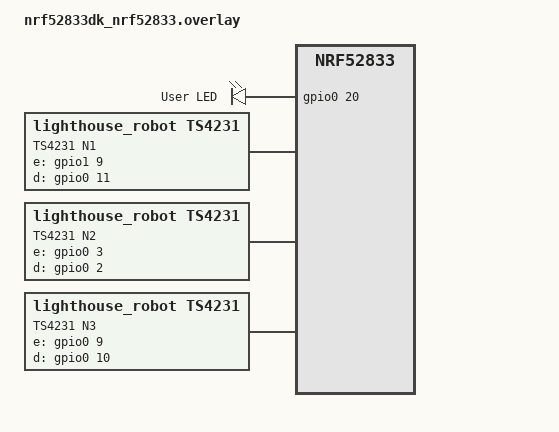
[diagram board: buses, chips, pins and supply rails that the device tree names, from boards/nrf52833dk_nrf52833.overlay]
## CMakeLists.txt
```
cmake_minimum_required(VERSION 3.20.0)
find_package(Zephyr REQUIRED HINTS $ENV{ZEPHYR_BASE})

project(lighthouse_20260714)

target_sources(app PRIVATE
	src/main.c
	src/led/led.c
	src/bt_advertise/bt_advertise.c
	src/bt_scan/bt_scan.c
	src/ppi/ppi.c
	src/ppi/timer.c
	src/ts4231/ts4231.c
	src/ts4231/ts4231_sensors.c
	src/pos/pos.c
	src/robot_pose/robot_pose.c
)

target_include_directories(app PRIVATE
	src/led
	src/bt_advertise
	src/bt_scan
	src/ppi
	src/ts4231
	src/pos
	src/robot_pose
)
```

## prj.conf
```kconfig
CONFIG_GPIO=y

CONFIG_LOG=y
CONFIG_LOG_DEFAULT_LEVEL=3

CONFIG_BT=y
CONFIG_BT_PERIPHERAL=y
CONFIG_BT_OBSERVER=y
CONFIG_BT_DEVICE_NAME="lighthouse_robot"

CONFIG_BT_CTLR_ADV_DATA_LEN_MAX=64
CONFIG_BT_CTLR_SCAN_DATA_LEN_MAX=64

CONFIG_BT_PRIVACY=n
CONFIG_BT_SETTINGS=n

CONFIG_ZERO_LATENCY_IRQS=y

# --- dual-output pose stream (BLE + UART0) ---
CONFIG_SERIAL=y
CONFIG_CONSOLE=n
CONFIG_PRINTK=n
CONFIG_UART_CONSOLE=n
CONFIG_UART_NRF_UARTE=y
```

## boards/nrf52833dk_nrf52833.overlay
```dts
/ {
	leds {
		user_led: led_user {
			gpios = <&gpio0 20 GPIO_ACTIVE_HIGH>;
			label = "User LED";
		};
	};

	aliases {
		my-led = &user_led;
	};

	ts4231_n1: ts4231_n1 {
		compatible = "lighthouse_robot,ts4231";
		e-gpios = <&gpio1 9 GPIO_ACTIVE_HIGH>;
		d-gpios = <&gpio0 11 GPIO_ACTIVE_HIGH>;
		label = "TS4231 N1";
	};

	ts4231_n2: ts4231_n2 {
		compatible = "lighthouse_robot,ts4231";
		e-gpios = <&gpio0 3 GPIO_ACTIVE_HIGH>;
		d-gpios = <&gpio0 2 GPIO_ACTIVE_HIGH>;
		label = "TS4231 N2";
	};

	ts4231_n3: ts4231_n3 {
		compatible = "lighthouse_robot,ts4231";
		e-gpios = <&gpio0 9 GPIO_ACTIVE_HIGH>;
		d-gpios = <&gpio0 10 GPIO_ACTIVE_HIGH>;
		label = "TS4231 N3";
	};
};
```

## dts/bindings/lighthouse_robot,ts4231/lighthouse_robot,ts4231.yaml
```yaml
description: TS4231 lighthouse optical sensor (E = clock, D = data)
compatible: "lighthouse_robot,ts4231"

include: [base.yaml]

properties:
  e-gpios:
    type: phandle-array
    required: true
    description: E (clock) pin
  d-gpios:
    type: phandle-array
    required: true
    description: D (data) pin
```

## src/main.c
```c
#include <zephyr/kernel.h>
#include <zephyr/sys/printk.h>
#include <nrfx.h>
#include <string.h>

#include "led.h"
#include "bt_advertise.h"
#include "bt_scan.h"
#include "ts4231.h"
#include "ts4231_sensors.h"
#include "ppi.h"
#include "pos.h"
#include "robot_pose.h"
#include "lighthouse_config.h"
#include "lighthouse_pkt.h"

static const lighthouse_point cal_pos[] = {
	{0.0, 0.0, 0.0},
	{594.0, 0.0, 0.0},
	{594.0, 420.0, 0.0}
};

static const lighthouse_angles cal_angles[] = {
	{82.556, 74.598},
	{88.518, 87.382},
	{81.198, 91.95}
};

static lighthouse_result calib_result;

#define POSE_Q_SIZE 4
static struct {
	lighthouse_pkt_t buf[POSE_Q_SIZE];
	atomic_t head;
	atomic_t tail;
} pose_q;

static void pose_q_push(const lighthouse_pkt_t *p)
{
	uint32_t tail = (uint32_t)atomic_get(&pose_q.tail);
	pose_q.buf[tail % POSE_Q_SIZE] = *p;
	atomic_inc(&pose_q.tail);

	uint32_t head = (uint32_t)atomic_get(&pose_q.head);
	if ((uint32_t)(atomic_get(&pose_q.tail) - head) >= POSE_Q_SIZE) {
		atomic_inc(&pose_q.head);
	}
}

static bool pose_q_pop(lighthouse_pkt_t *out)
{
	uint32_t tail = (uint32_t)atomic_get(&pose_q.tail);
	uint32_t head = (uint32_t)atomic_get(&pose_q.head);

	if (head >= tail) {
		return false;
	}
	*out = pose_q.buf[head % POSE_Q_SIZE];
	atomic_inc(&pose_q.head);
	return true;
}

static uint16_t get_device_id(void)
{
	return (uint16_t)(NRF_FICR->DEVICEADDR[0] & 0xFFFFu);
}

static size_t pose_provider(uint8_t *buf, size_t max_len)
{
	if (max_len < sizeof(lighthouse_pkt_t) + 2) {
		return 0;
	}

	lighthouse_pkt_t pkt;
	if (!pose_q_pop(&pkt)) {
		return 0;
	}

	buf[0] = 0xFF;
	buf[1] = 0xFF;
	memcpy(&buf[2], &pkt, sizeof(lighthouse_pkt_t));
	return sizeof(lighthouse_pkt_t) + 2;
}

static void on_rx(const uint8_t *data, size_t len, int8_t rssi,
		  const bt_addr_le_t *addr)
{
	ARG_UNUSED(data);
	ARG_UNUSED(len);
	ARG_UNUSED(rssi);
	ARG_UNUSED(addr);
	bt_advertise_notify_rx();
}

static void on_pulse(uint8_t sensor_idx, uint32_t t_start, uint32_t t_end,
		     uint32_t duration)
{
	ARG_UNUSED(sensor_idx);
	ARG_UNUSED(t_start);
	ARG_UNUSED(t_end);
	ARG_UNUSED(duration);
}

int main(void)
{
	led_init();
	led_set_mode(LED_MODE_INIT);

	pos_init();
	robot_pose_init();
	ppi_init(TIMER_3);

	ts4231_sensor_t *handles[3] = {
		ts4231_n1_handle(),
		ts4231_n2_handle(),
		ts4231_n3_handle(),
	};

	uint8_t valid_sensors = 0;
	for (int i = 0; i < 3; i++) {
		int err = ts4231_init(handles[i], 50);
		if (err) {
			printk("ts4231_n%d init fail: %d\n", i + 1, err);
			continue;
		}
		valid_sensors++;
		ts4231_sensor_attach_ppi_index(handles[i], TIMER_3, (uint8_t)i);
		printk("ts4231_n%d init OK\n", i + 1);
	}

	if (valid_sensors == 0) {
		led_set_mode(LED_MODE_ERROR);
		return -ENODEV;
	}

	if (lighthouse_calibrate(cal_pos, cal_angles, &calib_result) == 0) {
		robot_pose_set_calib_data(&calib_result);
	}

	int err = bt_enable(NULL);
	if (err) {
		led_set_mode(LED_MODE_ERROR);
		return err;
	}

	uint16_t dev_id = get_device_id();
#if LIGHTHOUSE_MODE_3D
	const char *mode_str = "3D";
	uint8_t mode_flag = 0x03;
#else
	const char *mode_str = "2D";
	uint8_t mode_flag = 0x01;
#endif
	printk("device_id=0x%04x mode=%s sensors=%u\n",
	       dev_id, mode_str, valid_sensors);

	bt_advertise_set_payload_provider(pose_provider);
	err = bt_advertise_start();
	if (err) {
		led_set_mode(LED_MODE_ERROR);
		return err;
	}

	bt_scan_register_callback(on_rx);
	err = bt_scan_start();
	if (err) {
		led_set_mode(LED_MODE_ERROR);
		return err;
	}

	while (1) {
		robot_pose_update();
		const robot_pose_t *pose = robot_pose_get();

		if (pose->valid) {
			lighthouse_pkt_t pkt;

			pkt.mode = mode_flag;
			pkt.id_lo = (uint8_t)(dev_id & 0xFFu);
			pkt.id_hi = (uint8_t)((dev_id >> 8) & 0xFFu);
			pkt.x_le = (float)pose->position.x;
			pkt.y_le = (float)pose->position.y;
			pkt.z_le = (float)pose->position.z;

			pose_q_push(&pkt);

			uint16_t id = (uint16_t)((uint16_t)pkt.id_hi << 8) | pkt.id_lo;
			const char *m = (pkt.mode == 0x03) ? "3D" : "2D";
			printk("x=%.3f y=%.3f z=%.3f id=%u mode=%s\n",
			       (double)pkt.x_le, (double)pkt.y_le, (double)pkt.z_le,
			       id, m);
		}
		k_msleep(10);
	}

	return 0;
}
```

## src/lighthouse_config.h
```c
#ifndef LIGHTHOUSE_CONFIG_H
#define LIGHTHOUSE_CONFIG_H

/* 2D vs 3D mode switch.
 *
 * 0 = single base station, 2D plane (z = 0). Default.
 * 1 = dual base station, full 3D via skew lines triangulation
 *     (NOT YET IMPLEMENTED — returns -ENOTSUP).
 *
 * To enable 3D once algorithm is ready:
 *   1. Implement lighthouse_get_position_3d() in pos.c
 *   2. Set LIGHTHOUSE_MODE_3D to 1 below
 *   3. Provide calib_data_b in main.c (second base station)
 */
#define LIGHTHOUSE_MODE_3D 0

#endif /* LIGHTHOUSE_CONFIG_H */
```

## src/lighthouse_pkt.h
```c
#pragma once
#include <stdint.h>

typedef struct __attribute__((packed)) {
	uint8_t mode;
	uint8_t id_lo;
	uint8_t id_hi;
	float   x_le;
	float   y_le;
	float   z_le;
} lighthouse_pkt_t;
```
